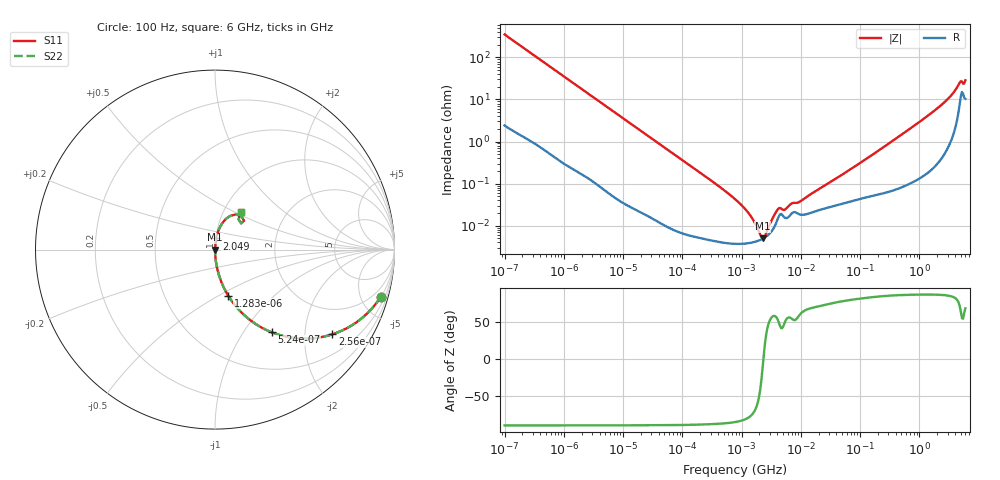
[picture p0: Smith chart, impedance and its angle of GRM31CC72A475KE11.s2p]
!Murata Part Number: GRM31CC72A475KE11
!These Parameters are Measured in Series Mode Connection
!Data Generated on Mar 30, 2021
!  o--ll--o
!Port1  Port2
!  o------o
!Operation Temp=25[degC], DC Bias Voltage=0[V]
!Freq. Start=100[Hz] Stop=6[GHz] 401[Steps]
# Hz S RI R 50
!Freq.(Hz) S11(Real) S11(Imag) S21(Real) S21(Imag) S12(Real) S12(Imag) S22(Real) S22(Imag)
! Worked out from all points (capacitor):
!   401 points, 100 Hz to 6 GHz, reference 50 ohm
!   read as one part in series: C = 4.52 uF near 109 Hz
!   lowest |Z| = 4.96 mohm at 2.269 MHz (marker M1)
!   series resonance near 2.334 MHz, so ESL is about 1 nH
!   S11 on the Smith chart (normalised r, x): 100 Hz: 1.05, -7.03; 256 Hz: 1.02, -2.76; 524 Hz: 1.01, -1.35; 1.283 kHz: 1.00, -0.55; 2.049 GHz: 1.01, +0.13; 6 GHz: 1.21, +0.53
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100  0.9236 -0.2622  0.0764 0.2622  0.0764 0.2622  0.9236 -0.2622
164  0.8206 -0.3801  0.1794 0.3801  0.1794 0.3801  0.8206 -0.3801
256  0.6539 -0.4718  0.3461 0.4718  0.3461 0.4718  0.6539 -0.4718
524  0.3151 -0.4604  0.6849 0.4604  0.6849 0.4604  0.3151 -0.4604
820  0.1599 -0.3624  0.8401 0.3624  0.8401 0.3624  0.1599 -0.3624
1283  0.0733 -0.2563  0.9267 0.2563  0.9267 0.2563  0.0733 -0.2563
2008  0.0321 -0.1717  0.9679 0.1717  0.9679 0.1717  0.0321 -0.1717
6433  0.00363 -0.0556  0.9964 0.0556  0.9964 0.0556  0.00363 -0.0556
40335  0.000201 -0.009  0.9998 0.009  0.9998 0.009  0.000201 -0.009
774597  3.71e-05 -0.000427  1 0.000427  1 0.000427  3.71e-05 -0.000427
1212075  3.78e-05 -0.000225  1 0.000225  1 0.000225  3.78e-05 -0.000225
1734173  4.18e-05 -9.73e-05  1 9.73e-05  1 9.73e-05  4.18e-05 -9.73e-05
2268635  4.87e-05 -9.2e-06  1 9.2e-06  1 9.2e-06  4.87e-05 -9.2e-06
2967816  6.45e-05 8.21e-05  0.9999 -8.21e-05  0.9999 -8.21e-05  6.45e-05 8.21e-05
4246196  0.000166 0.000198  0.9998 -0.000198  0.9998 -0.000198  0.000166 0.000198
5311619  0.000156 0.000179  0.9998 -0.000179  0.9998 -0.000179  0.000156 0.000179
1.555665e7  0.000207 0.000552  0.9998 -0.000552  0.9998 -0.000552  0.000207 0.000552
3.124326e8  0.000726 0.00914  0.9993 -0.00914  0.9993 -0.00914  0.000726 0.00914
2.048624e9  0.00689 0.062  0.9931 -0.062  0.9931 -0.062  0.00689 0.062
3.666503e9  0.031 0.1314  0.969 -0.1314  0.969 -0.1314  0.031 0.1314
4.796499e9  0.1133 0.1955  0.8867 -0.1955  0.8867 -0.1955  0.1133 0.1955
6e9  0.1436 0.2067  0.8564 -0.2067  0.8564 -0.2067  0.1436 0.2067
